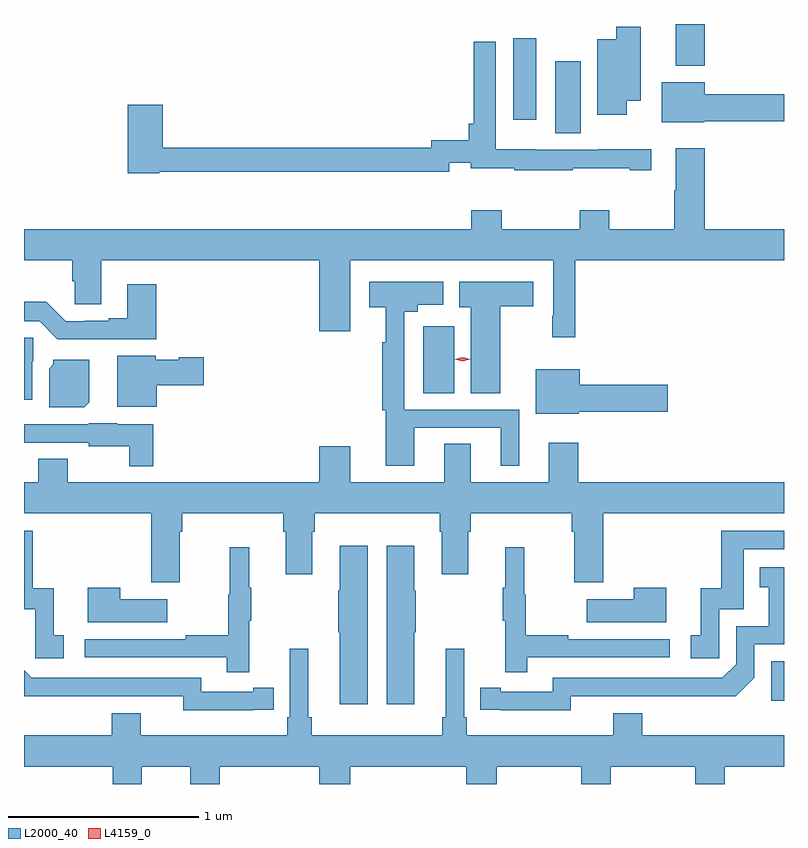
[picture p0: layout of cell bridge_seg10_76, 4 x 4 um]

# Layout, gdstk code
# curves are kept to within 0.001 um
import gdstk
lib = gdstk.Library(unit=1e-6, precision=1e-09)
def R(c, l, rs):  # rectangles x0, y0, x1, y1
    for r in rs: c.add(gdstk.rectangle(r[:2], r[2:], *l))
def P(c, l, *ps):  # polygons
    for p in ps: c.add(gdstk.Polygon(p, *l))
L2000_40 = (2000, 40)
L4159_0 = (4159, 0)

bridge_seg10_76 = lib.new_cell('bridge_seg10_76')
R(bridge_seg10_76, L2000_40, [(682.872,1290.006,682.938,1290.213), (681.734,1292.992,681.868,1293.373), (681.512,1293.063,681.634,1293.493), (682.367,1293.347,682.52,1293.568)])
P(bridge_seg10_76, L2000_40, [(682.111,1293.164),(682.183,1293.164),(682.183,1293.553),(682.054,1293.553),(682.054,1293.487),(681.956,1293.487),(681.956,1293.09),(682.111,1293.09)],
  [(679.65,1292.79),(681.177,1292.79),(681.177,1292.839),(681.29,1292.839),(681.29,1292.809),(681.517,1292.809),(681.517,1292.799),(681.827,1292.799),(681.827,1292.809),(682.127,1292.809),(682.127,1292.799),(682.24,1292.799),(682.24,1292.909),(681.964,1292.909),(681.964,1292.907),(681.63,1292.907),(681.63,1292.908),(681.42,1292.908),(681.42,1293.475),(681.304,1293.475),(681.304,1293.043),(681.278,1293.043),(681.278,1292.957),(681.081,1292.957),(681.081,1292.918),(679.667,1292.918),(679.667,1293.142),(679.484,1293.142),(679.484,1292.782),(679.65,1292.782)],
  [(682.518,1293.056),(682.938,1293.056),(682.938,1293.198),(682.522,1293.198),(682.522,1293.262),(682.295,1293.262),(682.295,1293.05),(682.518,1293.05)],
  [(681.839,1292.324),(682.938,1292.324),(682.938,1292.488),(682.52,1292.488),(682.52,1292.914),(682.367,1292.914),(682.367,1292.693),(682.36,1292.693),(682.36,1292.488),(682.017,1292.488),(682.017,1292.587),(681.862,1292.587),(681.862,1292.488),(681.453,1292.488),(681.453,1292.587),(681.293,1292.587),(681.293,1292.488),(678.938,1292.488),(678.938,1292.324),(679.193,1292.324),(679.193,1292.214),(679.206,1292.214),(679.206,1292.092),(679.345,1292.092),(679.345,1292.324),(680.492,1292.324),(680.492,1291.95),(680.656,1291.95),(680.656,1292.324),(681.723,1292.324),(681.723,1292.032),(681.718,1292.032),(681.718,1291.92),(681.839,1291.92)],
  [(681.445,1292.083),(681.619,1292.083),(681.619,1292.212),(681.229,1292.212),(681.229,1292.078),(681.29,1292.078),(681.29,1291.624),(681.445,1291.624)],
  [(680.992,1291.443),(681.446,1291.443),(681.446,1291.242),(681.544,1291.242),(681.544,1291.539),(680.94,1291.539),(680.94,1292.053),(681.01,1292.053),(681.01,1292.09),(681.144,1292.09),(681.144,1292.212),(680.754,1292.212),(680.754,1292.078),(680.843,1292.078),(680.843,1291.894),(680.824,1291.894),(680.824,1291.536),(680.843,1291.536),(680.843,1291.242),(680.992,1291.242)],
  [(679.634,1292.197),(679.481,1292.197),(679.481,1292.02),(679.385,1292.02),(679.385,1292.007),(679.258,1292.007),(679.258,1292.004),(679.158,1292.004),(679.056,1292.107),(678.938,1292.107),(678.938,1292.004),(679.02,1292.004),(679.114,1291.91),(679.634,1291.91)],
  [(681.202,1291.978),(681.039,1291.978),(681.039,1291.865),(681.038,1291.865),(681.038,1291.624),(681.202,1291.624)],
  [(678.982,1291.794),(678.986,1291.794),(678.986,1291.917),(678.938,1291.917),(678.938,1291.59),(678.982,1291.59)],
  [(679.636,1291.667),(679.885,1291.667),(679.885,1291.814),(679.752,1291.814),(679.752,1291.801),(679.632,1291.801),(679.632,1291.822),(679.43,1291.822),(679.43,1291.553),(679.636,1291.553)],
  [(679.282,1291.576),(679.282,1291.801),(679.092,1291.801),(679.092,1291.776),(679.07,1291.754),(679.07,1291.55),(679.256,1291.55)],
  [(681.858,1291.528),(682.327,1291.528),(682.327,1291.67),(681.862,1291.67),(681.862,1291.75),(681.632,1291.75),(681.632,1291.517),(681.858,1291.517)],
  [(679.619,1291.462),(679.428,1291.462),(679.428,1291.468),(679.278,1291.468),(679.278,1291.461),(678.938,1291.461),(678.938,1291.365),(679.278,1291.365),(679.278,1291.346),(679.491,1291.346),(679.491,1291.241),(679.619,1291.241)],
  [(679.759,1290.896),(679.772,1290.896),(679.772,1290.992),(680.303,1290.992),(680.303,1290.896),(680.315,1290.896),(680.315,1290.672),(680.455,1290.672),(680.455,1290.896),(680.468,1290.896),(680.468,1290.992),(681.125,1290.992),(681.125,1290.896),(681.137,1290.896),(681.137,1290.672),(681.277,1290.672),(681.277,1290.896),(681.29,1290.896),(681.29,1290.992),(681.821,1290.992),(681.821,1290.896),(681.833,1290.896),(681.833,1290.63),(681.986,1290.63),(681.986,1290.992),(682.938,1290.992),(682.938,1291.156),(681.854,1291.156),(681.854,1291.363),(681.701,1291.363),(681.701,1291.156),(681.289,1291.156),(681.289,1291.358),(681.149,1291.358),(681.149,1291.156),(680.656,1291.156),(680.656,1291.345),(680.492,1291.345),(680.492,1291.156),(679.167,1291.156),(679.167,1291.28),(679.012,1291.28),(679.012,1291.156),(678.938,1291.156),(678.938,1290.992),(679.607,1290.992),(679.607,1290.63),(679.759,1290.63)],
  [(679.147,1290.351),(679.094,1290.351),(679.094,1290.598),(678.983,1290.598),(678.983,1290.9),(678.938,1290.9),(678.938,1290.489),(678.996,1290.489),(678.996,1290.231),(679.147,1290.231)],
  [(682.596,1290.489),(682.725,1290.489),(682.725,1290.804),(682.938,1290.804),(682.938,1290.9),(682.609,1290.9),(682.609,1290.598),(682.499,1290.598),(682.499,1290.351),(682.446,1290.351),(682.446,1290.231),(682.596,1290.231)],
  [(680.992,1290.367),(681,1290.367),(681,1290.584),(680.992,1290.584),(680.992,1290.823),(680.846,1290.823),(680.846,1289.988),(680.992,1289.988)],
  [(680.746,1290.823),(680.6,1290.823),(680.6,1290.584),(680.593,1290.584),(680.593,1290.367),(680.6,1290.367),(680.6,1289.988),(680.746,1289.988)],
  [(681.587,1290.234),(682.336,1290.234),(682.336,1290.33),(681.803,1290.33),(681.803,1290.35),(681.58,1290.35),(681.58,1290.564),(681.572,1290.564),(681.572,1290.814),(681.47,1290.814),(681.47,1290.601),(681.459,1290.601),(681.459,1290.427),(681.47,1290.427),(681.47,1290.156),(681.587,1290.156)],
  [(680.123,1290.427),(680.134,1290.427),(680.134,1290.601),(680.123,1290.601),(680.123,1290.814),(680.02,1290.814),(680.02,1290.564),(680.013,1290.564),(680.013,1290.35),(679.789,1290.35),(679.789,1290.33),(679.257,1290.33),(679.257,1290.234),(680.005,1290.234),(680.005,1290.156),(680.123,1290.156)],
  [(681.816,1290.03),(682.684,1290.029),(682.782,1290.126),(682.782,1290.303),(682.938,1290.303),(682.938,1290.709),(682.81,1290.709),(682.81,1290.603),(682.859,1290.603),(682.859,1290.399),(682.686,1290.399),(682.686,1290.198),(682.614,1290.126),(681.72,1290.126),(681.72,1290.054),(681.448,1290.054),(681.448,1290.074),(681.34,1290.074),(681.34,1289.958),(681.816,1289.957)],
  [(682.318,1290.601),(682.148,1290.601),(682.148,1290.541),(681.899,1290.541),(681.899,1290.419),(682.318,1290.419)],
  [(679.693,1290.541),(679.445,1290.541),(679.445,1290.601),(679.274,1290.601),(679.274,1290.419),(679.693,1290.419)],
  [(679.558,1289.66),(679.814,1289.66),(679.814,1289.568),(679.967,1289.568),(679.967,1289.66),(680.492,1289.66),(680.492,1289.568),(680.656,1289.568),(680.656,1289.66),(681.266,1289.66),(681.266,1289.568),(681.426,1289.568),(681.426,1289.66),(681.871,1289.66),(681.871,1289.568),(682.026,1289.568),(682.026,1289.66),(682.471,1289.66),(682.471,1289.568),(682.626,1289.568),(682.626,1289.66),(682.938,1289.66),(682.938,1289.824),(682.193,1289.824),(682.193,1289.941),(682.04,1289.941),(682.04,1289.824),(681.269,1289.824),(681.269,1289.92),(681.255,1289.92),(681.255,1290.28),(681.158,1290.28),(681.158,1289.92),(681.139,1289.92),(681.139,1289.824),(680.453,1289.824),(680.453,1289.92),(680.434,1289.92),(680.434,1290.28),(680.337,1290.28),(680.337,1289.92),(680.324,1289.92),(680.324,1289.824),(679.552,1289.824),(679.552,1289.941),(679.4,1289.941),(679.4,1289.824),(678.938,1289.824),(678.938,1289.66),(679.406,1289.66),(679.406,1289.568),(679.558,1289.568)],
  [(680.144,1289.958),(680.252,1289.958),(680.252,1290.074),(680.144,1290.074),(680.144,1290.054),(679.872,1290.054),(679.872,1290.126),(678.978,1290.126),(678.938,1290.166),(678.938,1290.029),(679.776,1290.03),(679.776,1289.957)])
P(bridge_seg10_76, L4159_0, [(681.246,1291.793),(681.206,1291.803),(681.205,1291.803),(681.206,1291.803),(681.246,1291.813),(681.286,1291.804),(681.286,1291.803),(681.286,1291.803)])

lib.write_gds('bridge_seg10_76.gds')
